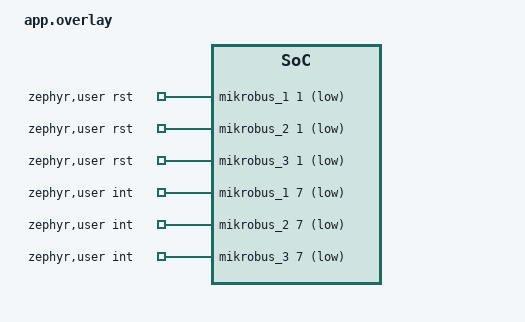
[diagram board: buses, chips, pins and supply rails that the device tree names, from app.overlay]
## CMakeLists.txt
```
# SPDX-License-Identifier: Apache-2.0
cmake_minimum_required(VERSION 3.20.0)
list(APPEND BOARD_ROOT ${CMAKE_CURRENT_LIST_DIR}/../..)
find_package(Zephyr REQUIRED HINTS $ENV{ZEPHYR_BASE})
project(t1s_slot_probe)
target_sources(app PRIVATE src/main.c)
```

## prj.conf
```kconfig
CONFIG_GPIO=y
CONFIG_SPI=y
CONFIG_I2C=y
CONFIG_PRINTK=y
```

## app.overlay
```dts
/ {
	zephyr,user {
		/* RST and INT of slots 1..3 through the board's mikroBUS nexus nodes */
		rst-gpios = <&mikrobus_1 1 GPIO_ACTIVE_LOW>,
			    <&mikrobus_2 1 GPIO_ACTIVE_LOW>,
			    <&mikrobus_3 1 GPIO_ACTIVE_LOW>;
		int-gpios = <&mikrobus_1 7 (GPIO_ACTIVE_LOW | GPIO_PULL_UP)>,
			    <&mikrobus_2 7 (GPIO_ACTIVE_LOW | GPIO_PULL_UP)>,
			    <&mikrobus_3 7 (GPIO_ACTIVE_LOW | GPIO_PULL_UP)>;
	};
};
```

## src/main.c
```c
/*
 * mikroBUS slot probe for the AC164162 base: finds the LAN865x
 * (Two-Wire ETH Click, MIKROE-5543) by reading its OPEN Alliance TC6
 * registers over the shared SPI with each slot's CS/RST in turn.
 * Also scans the shared I2C bus (the click carries an AT24MAC402).
 *
 * SPDX-License-Identifier: Apache-2.0
 */
#include <zephyr/kernel.h>
#include <zephyr/device.h>
#include <zephyr/drivers/gpio.h>
#include <zephyr/drivers/spi.h>
#include <zephyr/drivers/i2c.h>
#include <zephyr/sys/byteorder.h>
#include <zephyr/sys/printk.h>
#include <soc.h>

#define SPI_NODE DT_NODELABEL(sercom1)
#define I2C_NODE DT_NODELABEL(sercom2)


/* RST/INT of each slot come from the board mikroBUS nexus nodes, listed in
 * /zephyr,user by app.overlay. */
#define PROBE DT_PATH(zephyr_user)

struct slot {
	int num;
	struct gpio_dt_spec rst, intr;
	int cs_idx;
};

static const struct slot slots[] = {
	{ 1, GPIO_DT_SPEC_GET_BY_IDX(PROBE, rst_gpios, 0), GPIO_DT_SPEC_GET_BY_IDX(PROBE, int_gpios, 0), 0 },
	{ 2, GPIO_DT_SPEC_GET_BY_IDX(PROBE, rst_gpios, 1), GPIO_DT_SPEC_GET_BY_IDX(PROBE, int_gpios, 1), 1 },
	{ 3, GPIO_DT_SPEC_GET_BY_IDX(PROBE, rst_gpios, 2), GPIO_DT_SPEC_GET_BY_IDX(PROBE, int_gpios, 2), 2 },
};

static const struct device *spi = DEVICE_DT_GET(SPI_NODE);
static const struct device *i2c = DEVICE_DT_GET(I2C_NODE);

static const struct gpio_dt_spec cs[] = {
	GPIO_DT_SPEC_GET_BY_IDX(SPI_NODE, cs_gpios, 0),
	GPIO_DT_SPEC_GET_BY_IDX(SPI_NODE, cs_gpios, 1),
	GPIO_DT_SPEC_GET_BY_IDX(SPI_NODE, cs_gpios, 2),
};

static uint32_t parity_bit(uint32_t x)
{
	/* OA TC6: header carries odd parity -> P=1 when the rest has an even count */
	return (__builtin_popcount(x) & 1) ? 0 : 1;
}

static int tc6_read(int cs_idx, uint32_t reg, uint32_t *val, uint32_t *echo)
{
	uint8_t tx[12] = {0}, rx[12] = {0};
	uint32_t hdr = ((reg >> 16) & 0xF) << 24 | (reg & 0xFFFF) << 8;

	hdr |= parity_bit(hdr);
	sys_put_be32(hdr, tx);

	struct spi_cs_control csc = { .gpio = cs[cs_idx], .delay = 1 };
	struct spi_config cfg = {
		.frequency = 4000000,
		.operation = SPI_OP_MODE_MASTER | SPI_WORD_SET(8) | SPI_TRANSFER_MSB,
		.cs = csc,
	};
	struct spi_buf tb = { .buf = tx, .len = sizeof(tx) };
	struct spi_buf rb = { .buf = rx, .len = sizeof(rx) };
	struct spi_buf_set ts = { .buffers = &tb, .count = 1 };
	struct spi_buf_set rs = { .buffers = &rb, .count = 1 };
	int ret = spi_transceive(spi, &cfg, &ts, &rs);

	if (ret) {
		return ret;
	}
	*echo = sys_get_be32(&rx[4]);
	*val = sys_get_be32(&rx[8]);
	return (*echo == hdr) ? 0 : -EIO;
}

static int probe_slot(const struct slot *s)
{
	uint32_t id = 0, phy = 0, dev = 0, st0 = 0, echo = 0;
	int r1, r2, r3, r4;

	gpio_pin_configure_dt(&s->rst, GPIO_OUTPUT_INACTIVE);
	gpio_pin_configure_dt(&s->intr, GPIO_INPUT);
	/* RST_N low >= 5 us, then wait for IRQ_N (reset complete) */
	gpio_pin_set_dt(&s->rst, 1);
	k_busy_wait(20);
	gpio_pin_set_dt(&s->rst, 0);
	int irq_seen = 0;
	for (int i = 0; i < 100; i++) {
		if (gpio_pin_get_dt(&s->intr) == 1) { /* active-low INT asserted */
			irq_seen = 1;
			break;
		}
		k_msleep(1);
	}

	r1 = tc6_read(s->cs_idx, 0x00000000, &id, &echo);   /* OA_ID */
	r2 = tc6_read(s->cs_idx, 0x00000001, &phy, &echo);  /* OA_PHYID */
	r3 = tc6_read(s->cs_idx, 0x000A0094, &dev, &echo);  /* LAN865x DEVID */
	r4 = tc6_read(s->cs_idx, 0x00000008, &st0, &echo);  /* OA_STATUS0 */

	printk("slot %d: IRQ_N after reset=%s OA_ID=0x%08x(%d) PHYID=0x%08x(%d) "
	       "DEVID=0x%08x(%d) STATUS0=0x%08x(%d)\n",
	       s->num, irq_seen ? "low" : "high", id, r1, phy, r2, dev, r3, st0, r4);

	if (r1 == 0 && id == 0x11 && r3 == 0) {
		uint16_t chip = (dev >> 4) & 0xFFFF;
		printk("slot %d: LAN865x found: chip 0x%04x rev %u (%s)\n", s->num, chip,
		       dev & 0xF, (dev & 0xF) == 2 ? "B1" : ((dev & 0xF) == 1 ? "B0" : "?"));
		return 1;
	}
	return 0;
}

static void i2c_scan(void)
{
	static bool done;
	if (done) {
		return;
	}
	done = true;
	/* Line levels first: a bus without pull-ups (or held low) hangs the SERCOM */
	PORT->Group[0].PINCFG[12].bit.INEN = 1;
	PORT->Group[0].PINCFG[13].bit.INEN = 1;
	k_busy_wait(10);
	uint32_t in = PORT->Group[0].IN.reg;
	printk("I2C lines: SDA(PA12)=%d SCL(PA13)=%d\n", (int)((in >> 12) & 1),
	       (int)((in >> 13) & 1));
	if (!((in >> 12) & 1) || !((in >> 13) & 1)) {
		printk("I2C: a line is low (no pull-up?) - scan skipped\n");
		return;
	}
	if (!device_is_ready(i2c)) {
		printk("I2C: controller not ready\n");
		return;
	}
	printk("I2C (shared mikroBUS SCL/SDA) scan:");
	for (uint8_t a = 0x08; a < 0x78; a++) {
		uint8_t b;
		if (i2c_read(i2c, &b, 1, a) == 0) {
			printk(" 0x%02x", a);
		}
	}
	printk("\n");
	/* AT24MAC402: EUI-48 at word address 0x9A of the 0x58|A2..A0 device */
	for (uint8_t a = 0x58; a <= 0x5F; a++) {
		uint8_t reg = 0x9A, mac[6];
		if (i2c_write_read(i2c, a, &reg, 1, mac, 6) == 0) {
			printk("AT24MAC402 @0x%02x EUI-48 %02x:%02x:%02x:%02x:%02x:%02x\n", a,
			       mac[0], mac[1], mac[2], mac[3], mac[4], mac[5]);
		}
	}
}

K_THREAD_DEFINE(i2c_tid, 1024, i2c_scan, NULL, NULL, NULL, 10, 0, 3000);

int main(void)
{
	int round = 0;

	k_msleep(500);
	while (1) {
		int found = 0;
		printk("\n=== mikroBUS slot probe, round %d ===\n", round++);
		for (size_t i = 0; i < ARRAY_SIZE(slots); i++) {
			if (probe_slot(&slots[i])) {
				printk("RESULT: Two-Wire ETH click (LAN865x) in mikroBUS slot %d\n",
				       slots[i].num);
				found++;
			}
		}
		if (!found) {
			printk("RESULT: no LAN865x answered on any slot\n");
		}
		k_msleep(5000);
	}
	return 0;
}
```
